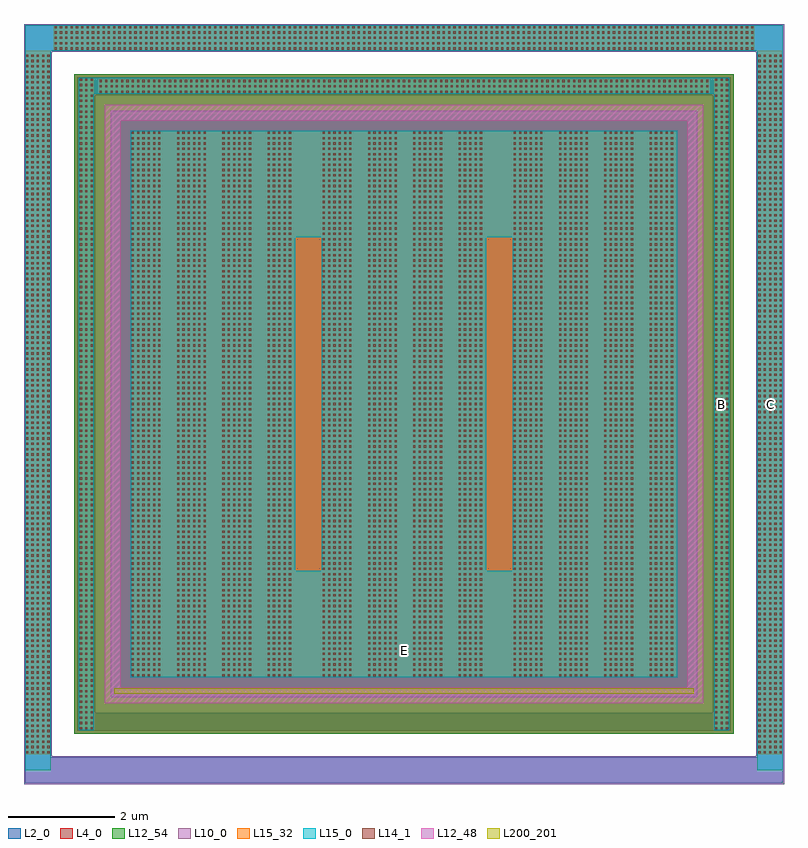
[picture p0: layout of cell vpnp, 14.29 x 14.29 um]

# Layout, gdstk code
import gdstk
lib = gdstk.Library(unit=1e-6, precision=1e-09)
def R(c, l, rs):  # rectangles x0, y0, x1, y1
    for r in rs: c.add(gdstk.rectangle(r[:2], r[2:], *l))
def A(c, l, x, y, w, h, nx, ny, dx, dy):  # array of equal rectangles
    R(c, l, [(x+i*dx, y+j*dy, x+i*dx+w, y+j*dy+h) for i in range(nx) for j in range(ny)])
L2_0 = (2, 0)
L4_0 = (4, 0)
L10_0 = (10, 0)
L12_48 = (12, 48)
L12_54 = (12, 54)
L14_1 = (14, 1)
L15_0 = (15, 0)
L15_32 = (15, 32)
L200_201 = (200, 201)

vpnp = lib.new_cell('vpnp')
R(vpnp, L2_0, [(-13.629,-5.659,0.623,-5.179), (-13.629,-5.179,-13.149,8.113), (0.143,-5.179,0.623,8.113), (-12.649,-4.679,-0.357,-4.339), (-12.649,-4.339,-12.309,7.273), (-0.697,-4.339,-0.357,7.273), (-11.953,-3.983,-1.053,6.917), (-12.649,7.273,-0.357,7.613), (-13.629,8.113,0.623,8.593)])
R(vpnp, L4_0, [(-12.705,-4.735,-0.301,7.669)])
R(vpnp, L10_0, [(-13.65,-5.68,0.644,-5.158), (-13.65,-5.158,-13.128,8.092), (0.122,-5.158,0.644,8.092), (-12.023,-4.053,-0.983,6.987), (-13.65,8.092,0.644,8.614)])
R(vpnp, L12_48, [(-12.134,-4.164,-0.872,-3.858), (-12.134,-3.858,-11.828,6.792), (-1.178,-3.858,-0.872,6.792), (-12.134,6.792,-0.872,7.098)])
R(vpnp, L12_54, [(-12.705,-4.735,-0.301,7.669)])
A(vpnp, L14_1, -13.609, -5.103, 0.04, 0.04, 5, 132, 0.1, 0.1)
A(vpnp, L14_1, 0.163, -5.103, 0.04, 0.04, 5, 132, 0.1, 0.1)
A(vpnp, L14_1, -12.599, -4.653, 0.04, 0.04, 3, 123, 0.1, 0.1)
A(vpnp, L14_1, -0.647, -4.653, 0.04, 0.04, 3, 123, 0.1, 0.1)
A(vpnp, L14_1, -11.623, -3.653, 0.04, 0.04, 6, 103, 0.1, 0.1)
A(vpnp, L14_1, -10.771, -3.653, 0.04, 0.04, 6, 103, 0.1, 0.1)
A(vpnp, L14_1, -9.919, -3.653, 0.04, 0.04, 6, 103, 0.1, 0.1)
A(vpnp, L14_1, -9.067, -3.653, 0.04, 0.04, 5, 103, 0.1, 0.1)
A(vpnp, L14_1, -8.031, -3.653, 0.04, 0.04, 6, 103, 0.1, 0.1)
A(vpnp, L14_1, -7.179, -3.653, 0.04, 0.04, 6, 103, 0.1, 0.1)
A(vpnp, L14_1, -6.327, -3.653, 0.04, 0.04, 6, 103, 0.1, 0.1)
A(vpnp, L14_1, -5.475, -3.653, 0.04, 0.04, 5, 103, 0.1, 0.1)
A(vpnp, L14_1, -4.439, -3.653, 0.04, 0.04, 6, 103, 0.1, 0.1)
A(vpnp, L14_1, -3.587, -3.653, 0.04, 0.04, 6, 103, 0.1, 0.1)
A(vpnp, L14_1, -2.735, -3.653, 0.04, 0.04, 6, 103, 0.1, 0.1)
A(vpnp, L14_1, -1.883, -3.653, 0.04, 0.04, 5, 103, 0.1, 0.1)
A(vpnp, L14_1, -12.223, 7.323, 0.04, 0.04, 115, 3, 0.1, 0.1)
A(vpnp, L14_1, -13.073, 8.133, 0.04, 0.04, 132, 5, 0.1, 0.1)
A(vpnp, L15_0, -11.641, -1.671, 3.092, 6.276, 3, 1, 3.592, 0)
R(vpnp, L15_0, [(-13.627,-5.419,-13.151,8.591), (0.145,-5.419,0.621,8.591), (-12.617,-4.671,-12.341,7.605), (-0.665,-4.671,-0.389,7.605), (-11.641,-3.671,-1.365,-1.671), (-11.641,4.605,-1.365,6.605), (-12.341,7.305,-0.665,7.605), (-13.151,8.115,0.145,8.591)])
R(vpnp, L15_32, [(-13.627,-5.121,-13.151,8.115), (0.145,-5.121,0.621,8.115), (-12.617,-4.671,-12.341,7.605), (-0.665,-4.671,-0.389,7.605), (-11.641,-3.671,-1.365,6.605), (-12.241,7.305,-0.765,7.581), (-13.091,8.115,0.085,8.591)])
R(vpnp, L200_201, [(-11.953,-3.983,-1.053,-3.883)])
vpnp.add(gdstk.Label('E', (-6.503,-3.171), layer=15, texttype=20))
vpnp.add(gdstk.Label('B', (-0.527,1.467), layer=15, texttype=20))
vpnp.add(gdstk.Label('C', (0.383,1.467), layer=15, texttype=20))

lib.write_gds('vpnp.gds')
